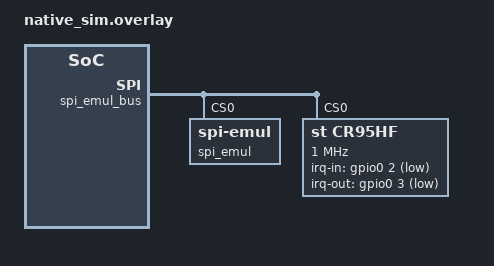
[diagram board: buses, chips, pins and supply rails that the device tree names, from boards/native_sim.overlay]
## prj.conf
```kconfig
# Copyright (c) 2025,2026 Conny Marco Menebröcker
#
# SPDX-License-Identifier: Apache-2.0
CONFIG_ZTEST=y
CONFIG_LOG=y
CONFIG_LOG_DEFAULT_LEVEL=4
```

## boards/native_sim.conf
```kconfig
# Copyright (c) 2025,2026 Conny Marco Menebröcker
#
# SPDX-License-Identifier: Apache-2.0


CONFIG_EMUL=y
CONFIG_SPI=y
CONFIG_GPIO=y
CONFIG_SPI_EMUL=y
CONFIG_GPIO_EMUL=y
CONFIG_RFID=y
CONFIG_RFID_CR95HF=y
CONFIG_RFID_ISO14443=y
CONFIG_RFID_ISO14443A=y
CONFIG_CRC=y
CONFIG_EMUL_CR95HF=y
```

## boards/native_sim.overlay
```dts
/*
 * Copyright (c) 2025 Conny Marco Menebröcker
 *
 * SPDX-License-Identifier: Apache-2.0
 */
/ {
    spi_emul_bus: spi@200 {
        compatible = "zephyr,spi-emul-controller";
        reg = <0x200 4>;
        status = "okay";
        #address-cells = <1>;
        #size-cells = <0>;

	spi_emul: spi_emul@0 {
		compatible = "zephyr,spi-emul";
		reg = <0>;
		status = "okay";
	};

        cr95hf: cr95hf@0 {
            compatible = "st,cr95hf";
            reg = <0>;
            spi-max-frequency = <1000000>;
            status = "okay";
            irq-in-gpios = <&gpio0 2 GPIO_ACTIVE_LOW>;
            irq-out-gpios = <&gpio0 3 GPIO_ACTIVE_LOW>;
            cs-gpios = <&gpio0 4 GPIO_ACTIVE_LOW>;
        };
    };
};

&{/} {
    aliases {
        rfid = &cr95hf;
        spi-emul = &spi_emul;
    };
};
```

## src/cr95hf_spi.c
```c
/*
 * Copyright (c) 2025 Conny Marco Menebröcker
 *
 * SPDX-License-Identifier: Apache-2.0
 */
#include <zephyr/ztest.h>
#include <zephyr/drivers/emul.h>
#include <zephyr/drivers/spi_emul.h>
#include <zephyr/drivers/rfid.h>

#define CR95HF_SND_BUF_SIZE 50
#define CR95HF_RCV_BUF_SIZE 258

struct rfid_cr95hf_data {
	enum rfid_mode current_mode;
	uint64_t cm_timestamp;
	struct gpio_callback irq_callback;
	struct spi_buf spi_snd_buffer;
	struct spi_buf spi_rcv_buffer;
	struct spi_buf_set spi_snd_buffer_arr;
	struct spi_buf_set spi_rcv_buffer_arr;
	uint8_t rcv_buffer[CR95HF_RCV_BUF_SIZE];
	uint8_t snd_buffer[CR95HF_SND_BUF_SIZE];
	struct k_sem irq_out_sem;
	gpio_callback_handler_t cb_handler;
};

static const struct device *rfid_dev;

ZTEST(cr95hf_test, test_cr95hf_read_uid)
{
	rfid_dev = DEVICE_DT_GET(DT_ALIAS(rfid));
	zassert_true(device_is_ready(rfid_dev), "CR95HF device not ready/init failed");

	rfid_select_mode(rfid_dev, TAG_DETECTOR);
	struct rfid_cr95hf_data *data = rfid_dev->data;
	zassert_equal(data->current_mode, READY, "Current Mode is not READY as expected");

	rfid_protocol_select(rfid_dev, ISO_14443A);
	zassert_equal(data->current_mode, READER, "Current Mode is not READER as expected");

	uint8_t uid[10];
	size_t uid_len = 10;
	uint8_t expected_uid[4] = { 0x08, 0x19, 0x2D, 0xA2};
    	rfid_get_uid(rfid_dev, uid, &uid_len);
	zassert_equal(uid_len,4,"Length of TAG UID is not 4 as expected");
	zassert_mem_equal(uid,expected_uid,4,"Received TAG ID is not the expected 0x192DA29E");
}

ZTEST_SUITE(cr95hf_test, NULL, NULL, NULL, NULL, NULL);
```
